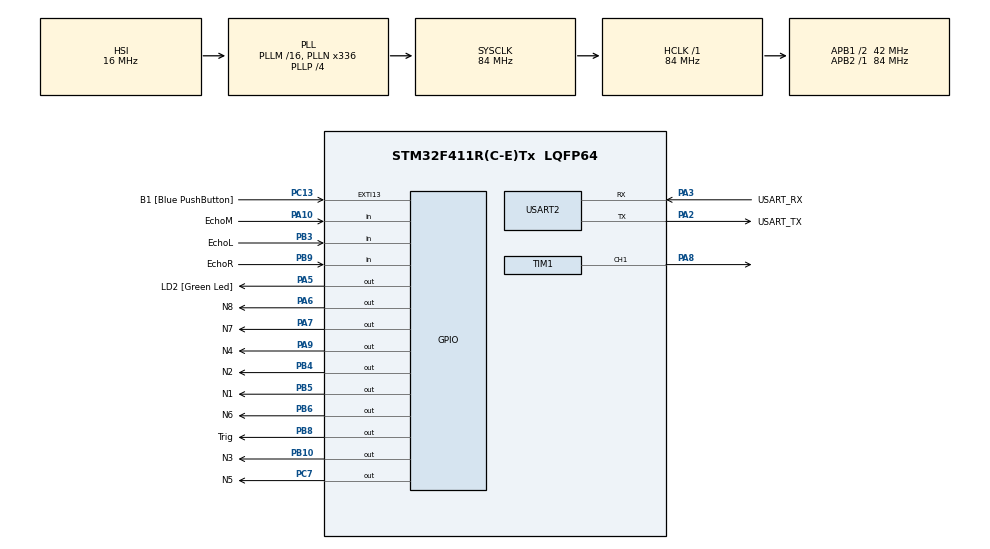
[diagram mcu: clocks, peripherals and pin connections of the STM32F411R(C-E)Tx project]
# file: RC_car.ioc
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Mcu.Family=STM32F4
Mcu.Name=STM32F411R(C-E)Tx
Mcu.Package=LQFP64
NVIC.EXTI15_10_IRQn=true\:0\:0\:false\:false\:true\:true\:true\:true
NVIC.PriorityGroup=NVIC_PRIORITYGROUP_0
PA10.GPIO_Label=EchoM
PA10.Signal=GPIO_Input
PA13.GPIO_Label=TMS
PA13.Mode=Serial_Wire
PA13.Signal=SYS_JTMS-SWDIO
PA14.GPIO_Label=TCK
PA14.Mode=Serial_Wire
PA14.Signal=SYS_JTCK-SWCLK
PA2.GPIO_Label=USART_TX
PA2.Mode=Asynchronous
PA2.Signal=USART2_TX
PA3.GPIO_Label=USART_RX
PA3.Mode=Asynchronous
PA3.Signal=USART2_RX
PA5.GPIO_Label=LD2 [Green Led]
PA5.Signal=GPIO_Output
PA6.GPIO_Label=N8
PA6.Signal=GPIO_Output
PA7.GPIO_Label=N7
PA7.Signal=GPIO_Output
PA8.Signal=S_TIM1_CH1
PA9.GPIO_Label=N4
PA9.Signal=GPIO_Output
PB10.GPIO_Label=N3
PB10.Signal=GPIO_Output
PB3.GPIO_Label=EchoL
PB3.Signal=GPIO_Input
PB4.GPIO_Label=N2
PB4.Signal=GPIO_Output
PB5.GPIO_Label=N1
PB5.Signal=GPIO_Output
PB6.GPIO_Label=N6
PB6.Signal=GPIO_Output
PB8.GPIO_Label=Trig
PB8.Signal=GPIO_Output
PB9.GPIO_Label=EchoR
PB9.Signal=GPIO_Input
PC13-ANTI_TAMP.GPIO_Label=B1 [Blue PushButton]
PC13-ANTI_TAMP.GPIO_ModeDefaultEXTI=GPIO_MODE_IT_FALLING
PC13-ANTI_TAMP.Signal=GPXTI13
PC14-OSC32_IN.Mode=LSE-External-Oscillator
PC14-OSC32_IN.Signal=RCC_OSC32_IN
PC15-OSC32_OUT.Mode=LSE-External-Oscillator
PC15-OSC32_OUT.Signal=RCC_OSC32_OUT
PC7.GPIO_Label=N5
PC7.Signal=GPIO_Output
PH0\ -\ OSC_IN.Mode=HSE-External-Clock-Source
PH0\ -\ OSC_IN.Signal=RCC_OSC_IN
PH1\ -\ OSC_OUT.Mode=HSE-External-Clock-Source
PH1\ -\ OSC_OUT.Signal=RCC_OSC_OUT
ProjectManager.HeapSize=0x200
ProjectManager.StackSize=0x400
ProjectManager.TargetToolchain=STM32CubeIDE
RCC.48MHZClocksFreq_Value=84000000
RCC.AHBFreq_Value=84000000
RCC.APB1CLKDivider=RCC_HCLK_DIV2
RCC.APB1Freq_Value=42000000
RCC.APB1TimFreq_Value=84000000
RCC.APB2Freq_Value=84000000
RCC.APB2TimFreq_Value=84000000
RCC.CortexFreq_Value=84000000
RCC.FLatency-AdvancedSettings=FLASH_LATENCY_2
RCC.HCLKFreq_Value=84000000
RCC.HSE_VALUE=8000000
RCC.HSI_VALUE=16000000
RCC.PLLN=336
RCC.PLLP=RCC_PLLP_DIV4
RCC.SYSCLKFreq_VALUE=84000000
RCC.SYSCLKSource=RCC_SYSCLKSOURCE_PLLCLK
RCC.VCOOutputFreq_Value=336000000
SH.S_TIM1_CH1.0=TIM1_CH1,PWM Generation1 CH1
TIM1.Channel-PWM\ Generation1\ CH1=TIM_CHANNEL_1
TIM1.Period=100-1
TIM1.Prescaler=840-1
TIM5.Prescaler=84-1
USART2.VirtualMode=VM_ASYNC
VP_TIM1_VS_ClockSourceINT.Mode=Internal
VP_TIM5_VS_ClockSourceINT.Mode=Internal
board=NUCLEO-F411RE

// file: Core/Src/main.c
/* USER CODE BEGIN Header */
/**
 ******************************************************************************
 * @file           : main.c
 * @brief          : Main program body
 ******************************************************************************
 * @attention
 *
 * Copyright (c) 2024 STMicroelectronics.
 * All rights reserved.
 *
 * This software is licensed under terms that can be found in the LICENSE file
 * in the root directory of this software component.
 * If no LICENSE file comes with this software, it is provided AS-IS.
 *
 ******************************************************************************
 */
/* USER CODE END Header */
#include "main.h"

/* USER CODE BEGIN Includes */
#include <stdio.h>
/* USER CODE END Includes */

TIM_HandleTypeDef htim1;
TIM_HandleTypeDef htim5;

UART_HandleTypeDef huart2;

void SystemClock_Config(void);
static void MX_GPIO_Init(void);
static void MX_USART2_UART_Init(void);
static void MX_TIM1_Init(void);
static void MX_TIM5_Init(void);

/* USER CODE BEGIN 0 */
int state = 0;
void HAL_GPIO_EXTI_Callback(uint16_t GPIO_Pin) {
	if (GPIO_Pin == B1_Pin) {
		if (state++ > 3)
			state = 0;
		Way();
	}

}
// ultra sonic================================================================
int t1 = 0, t2 = 0;
int ts = 0; //,t2=0;
double dist = 0.0;
void microDelay(int us) {
	/*
	 int t1 = htim5.Instance->CNT;
	 while(1)
	 {
	 int tmp_us = htim5.Instance->CNT - t1; // 경과?���?????????????????????
	 if(tmp_us > us) break;
	 }
	 */
	//while((htim5.Instance->CNT - t1) > us);
	htim5.Instance->CNT = 0;
	while (htim5.Instance->CNT < us)
		;
}
void Trigger() {
	//TriggerSignal

	HAL_GPIO_WritePin(Trig_GPIO_Port, Trig_Pin, 1);
	microDelay(10);	  //HAL_Delay(0.01);X
	HAL_GPIO_WritePin(Trig_GPIO_Port, Trig_Pin, 0);
	microDelay(20);
}
double Distance(int pos) {
	Trigger();
	switch(pos)
	{
	case 0 :
		// Wait util Echo Rising Edge
			while (HAL_GPIO_ReadPin(EchoL_GPIO_Port, EchoL_Pin) != 1)
				;
			t1 = htim5.Instance->CNT;
			//int t1 = htim5.Instance->CNT;
			// Wait until Echo Falling_Edge
			while (HAL_GPIO_ReadPin(EchoL_GPIO_Port, EchoL_Pin) != 0)
				;
			t2 = htim5.Instance->CNT;
			//int t2 = htim5.Instance->CNT;

			break;

	case 1:
		// Wait util Echo Rising Edge
			while (HAL_GPIO_ReadPin(EchoM_GPIO_Port, EchoM_Pin) != 1)
				;
			t1 = htim5.Instance->CNT;
			//int t1 = htim5.Instance->CNT;
			// Wait until Echo Falling_Edge
			while (HAL_GPIO_ReadPin(EchoM_GPIO_Port, EchoM_Pin) != 0)
				;
			t2 = htim5.Instance->CNT;
			//int t2 = htim5.Instance->CNT;
			break;
	case 2:
		// Wait util Echo Rising Edge
			while (HAL_GPIO_ReadPin(EchoR_GPIO_Port, EchoR_Pin) != 1)
				;
			t1 = htim5.Instance->CNT;
			//int t1 = htim5.Instance->CNT;
			// Wait until Echo Falling_Edge
			while (HAL_GPIO_ReadPin(EchoR_GPIO_Port, EchoR_Pin) != 0)
				;
			t2 = htim5.Instance->CNT;
			//int t2 = htim5.Instance->CNT;
		break;
	}

	double dist = (t2 - t1) * 0.000170; // meter
	//dist *= 100;

	//microDelay(100000);

	return dist;
}

void Way(void){
	switch (state) //N1 = 1, N2 = 0 forward
			{
			case 0:
				HAL_GPIO_WritePin(N1_GPIO_Port, N1_Pin, 1);
				HAL_GPIO_WritePin(N2_GPIO_Port, N2_Pin, 1);
				HAL_GPIO_WritePin(N3_GPIO_Port, N3_Pin, 1);
				HAL_GPIO_WritePin(N4_GPIO_Port, N4_Pin, 1);
				HAL_GPIO_WritePin(N5_GPIO_Port, N5_Pin, 1);
				HAL_GPIO_WritePin(N6_GPIO_Port, N6_Pin, 1);
				HAL_GPIO_WritePin(N7_GPIO_Port, N7_Pin, 1);
				HAL_GPIO_WritePin(N8_GPIO_Port, N8_Pin, 1);
				printf("0\r\n");
				break;
			case 1:
				HAL_GPIO_WritePin(N1_GPIO_Port, N1_Pin, 1);
				HAL_GPIO_WritePin(N2_GPIO_Port, N2_Pin, 0);
				HAL_GPIO_WritePin(N3_GPIO_Port, N3_Pin, 1);
				HAL_GPIO_WritePin(N4_GPIO_Port, N4_Pin, 0);
				HAL_GPIO_WritePin(N5_GPIO_Port, N5_Pin, 1);
				HAL_GPIO_WritePin(N6_GPIO_Port, N6_Pin, 0);
				HAL_GPIO_WritePin(N7_GPIO_Port, N7_Pin, 1);
				HAL_GPIO_WritePin(N8_GPIO_Port, N8_Pin, 0);
				printf("1\r\n");
				break;
			case 2:
				HAL_GPIO_WritePin(N1_GPIO_Port, N1_Pin, 0);
				HAL_GPIO_WritePin(N2_GPIO_Port, N2_Pin, 1);
				HAL_GPIO_WritePin(N3_GPIO_Port, N3_Pin, 0);
				HAL_GPIO_WritePin(N4_GPIO_Port, N4_Pin, 1);
				HAL_GPIO_WritePin(N5_GPIO_Port, N5_Pin, 0);
				HAL_GPIO_WritePin(N6_GPIO_Port, N6_Pin, 1);
				HAL_GPIO_WritePin(N7_GPIO_Port, N7_Pin, 0);
				HAL_GPIO_WritePin(N8_GPIO_Port, N8_Pin, 1);
				printf("2\r\n");
				break;
			case 3: //left
				HAL_GPIO_WritePin(N1_GPIO_Port, N1_Pin, 1);
				HAL_GPIO_WritePin(N2_GPIO_Port, N2_Pin, 0);
				HAL_GPIO_WritePin(N3_GPIO_Port, N3_Pin, 0);
				HAL_GPIO_WritePin(N4_GPIO_Port, N4_Pin, 1);
				HAL_GPIO_WritePin(N5_GPIO_Port, N5_Pin, 0);
				HAL_GPIO_WritePin(N6_GPIO_Port, N6_Pin, 1);
				HAL_GPIO_WritePin(N7_GPIO_Port, N7_Pin, 1);
				HAL_GPIO_WritePin(N8_GPIO_Port, N8_Pin, 0);
				printf("3\r\n");
				break;
			case 4: //right
				HAL_GPIO_WritePin(N1_GPIO_Port, N1_Pin, 0);
				HAL_GPIO_WritePin(N2_GPIO_Port, N2_Pin, 1);
				HAL_GPIO_WritePin(N3_GPIO_Port, N3_Pin, 1);
				HAL_GPIO_WritePin(N4_GPIO_Port, N4_Pin, 0);
				HAL_GPIO_WritePin(N5_GPIO_Port, N5_Pin, 1);
				HAL_GPIO_WritePin(N6_GPIO_Port, N6_Pin, 0);
				HAL_GPIO_WritePin(N7_GPIO_Port, N7_Pin, 0);
				HAL_GPIO_WritePin(N8_GPIO_Port, N8_Pin, 1);
				printf("4\r\n");
				break;
			}
}
/* USER CODE END 0 */

int main(void) {

	/* MCU Configuration--------------------------------------------------------*/

	/* Reset of all peripherals, Initializes the Flash interface and the Systick. */
	HAL_Init();

	/* Configure the system clock */
	SystemClock_Config();

	/* Initialize all configured peripherals */
	MX_GPIO_Init();
	MX_USART2_UART_Init();
	MX_TIM1_Init();
	MX_TIM5_Init();
	/* USER CODE BEGIN 2 */
	ProgramStart("DC_PWM");
	HAL_TIM_Base_Start(&htim5);
	HAL_TIM_PWM_Start(&htim1, TIM_CHANNEL_1);
	HAL_TIM_PWM_Start(&htim1, TIM_CHANNEL_3);
	htim1.Instance->CCR1 = 80;
	htim1.Instance->CCR3 = 80;
	/* USER CODE END 2 */

	/* Infinite loop */
	while (1) {

		/* USER CODE BEGIN 3 */
		//printf("%d\r\n", htim1.Instance->CCR1);

		double d = Distance(0) * 100;
		printf("\033[?25l");  //cursor off
		printf("\033[5;10H\033#3DistanceL : %.2f cm    ", d);
		printf("\033[6;10H\033#4DistanceL : %.2f cm    \033[9;10H\n", d);
		HAL_Delay(10);
		d = Distance(1) * 100;
		printf("\033[?25l");  //cursor off
		printf("\033[10;10H\033#3DistanceM : %.2f cm    ", d);
		printf("\033[11;10H\033#4DistanceM : %.2f cm    \033[9;10H\n", d);
		HAL_Delay(10);
		d = Distance(2) * 100;
		printf("\033[?25l");  //cursor off
		printf("\033[15;10H\033#3DistanceR : %.2f cm    ", d);
		printf("\033[16;10H\033#4DistanceR : %.2f cm    \033[9;10H\n", d);
		HAL_Delay(10);
		/*
		 if(htim1.Instance->CCR1>100)
		 {
		 htim1.Instance->CCR1 = 0;
		 htim1.Instance->CCR3 = 0;
		 }
		 htim1.Instance->CCR1++;
		 htim1.Instance->CCR3++;
		 */
		/*
		 //for (int i = 70; i < 100; i++)
		 {
		 //htim1.Instance -> CCR1 = i;
		 //htim1.Instance -> CCR3 = i;
		 //printf("%d\r\n" ,i);
		 HAL_GPIO_WritePin(N1_GPIO_Port, N1_Pin,1);
		 HAL_GPIO_WritePin(N3_GPIO_Port, N3_Pin,0);
		 HAL_GPIO_WritePin(N4_GPIO_Port, N4_Pin,1);
		 HAL_Delay(1000); //500ms
		 /*HAL_GPIO_WritePin(N3_GPIO_Port, N3_Pin,1);
		 HAL_GPIO_WritePin(N4_GPIO_Port, N4_Pin,0);
		 HAL_Delay(1000); //500ms
		 }*/
	}
	/* USER CODE END 3 */
}

void SystemClock_Config(void) {
	RCC_OscInitTypeDef RCC_OscInitStruct = { 0 };
	RCC_ClkInitTypeDef RCC_ClkInitStruct = { 0 };

	/** Configure the main internal regulator output voltage
	 */
	__HAL_RCC_PWR_CLK_ENABLE();
	__HAL_PWR_VOLTAGESCALING_CONFIG(PWR_REGULATOR_VOLTAGE_SCALE1);

	/** Initializes the RCC Oscillators according to the specified parameters
	 * in the RCC_OscInitTypeDef structure.
	 */
	RCC_OscInitStruct.OscillatorType = RCC_OSCILLATORTYPE_HSI;
	RCC_OscInitStruct.HSIState = RCC_HSI_ON;
	RCC_OscInitStruct.HSICalibrationValue = RCC_HSICALIBRATION_DEFAULT;
	RCC_OscInitStruct.PLL.PLLState = RCC_PLL_ON;
	RCC_OscInitStruct.PLL.PLLSource = RCC_PLLSOURCE_HSI;
	RCC_OscInitStruct.PLL.PLLM = 16;
	RCC_OscInitStruct.PLL.PLLN = 336;
	RCC_OscInitStruct.PLL.PLLP = RCC_PLLP_DIV4;
	RCC_OscInitStruct.PLL.PLLQ = 4;
	if (HAL_RCC_OscConfig(&RCC_OscInitStruct) != HAL_OK) {
		Error_Handler();
	}

	/** Initializes the CPU, AHB and APB buses clocks
	 */
	RCC_ClkInitStruct.ClockType = RCC_CLOCKTYPE_HCLK | RCC_CLOCKTYPE_SYSCLK
			| RCC_CLOCKTYPE_PCLK1 | RCC_CLOCKTYPE_PCLK2;
	RCC_ClkInitStruct.SYSCLKSource = RCC_SYSCLKSOURCE_PLLCLK;
	RCC_ClkInitStruct.AHBCLKDivider = RCC_SYSCLK_DIV1;
	RCC_ClkInitStruct.APB1CLKDivider = RCC_HCLK_DIV2;
	RCC_ClkInitStruct.APB2CLKDivider = RCC_HCLK_DIV1;

	if (HAL_RCC_ClockConfig(&RCC_ClkInitStruct, FLASH_LATENCY_2) != HAL_OK) {
		Error_Handler();
	}
}

static void MX_TIM1_Init(void) {

	TIM_ClockConfigTypeDef sClockSourceConfig = { 0 };
	TIM_MasterConfigTypeDef sMasterConfig = { 0 };
	TIM_OC_InitTypeDef sConfigOC = { 0 };
	TIM_BreakDeadTimeConfigTypeDef sBreakDeadTimeConfig = { 0 };

	htim1.Instance = TIM1;
	htim1.Init.Prescaler = 840 - 1;
	htim1.Init.CounterMode = TIM_COUNTERMODE_UP;
	htim1.Init.Period = 100 - 1;
	htim1.Init.ClockDivision = TIM_CLOCKDIVISION_DIV1;
	htim1.Init.RepetitionCounter = 0;
	htim1.Init.AutoReloadPreload = TIM_AUTORELOAD_PRELOAD_DISABLE;
	if (HAL_TIM_Base_Init(&htim1) != HAL_OK) {
		Error_Handler();
	}
	sClockSourceConfig.ClockSource = TIM_CLOCKSOURCE_INTERNAL;
	if (HAL_TIM_ConfigClockSource(&htim1, &sClockSourceConfig) != HAL_OK) {
		Error_Handler();
	}
	if (HAL_TIM_PWM_Init(&htim1) != HAL_OK) {
		Error_Handler();
	}
	sMasterConfig.MasterOutputTrigger = TIM_TRGO_RESET;
	sMasterConfig.MasterSlaveMode = TIM_MASTERSLAVEMODE_DISABLE;
	if (HAL_TIMEx_MasterConfigSynchronization(&htim1, &sMasterConfig)
			!= HAL_OK) {
		Error_Handler();
	}
	sConfigOC.OCMode = TIM_OCMODE_PWM1;
	sConfigOC.Pulse = 0;
	sConfigOC.OCPolarity = TIM_OCPOLARITY_HIGH;
	sConfigOC.OCNPolarity = TIM_OCNPOLARITY_HIGH;
	sConfigOC.OCFastMode = TIM_OCFAST_DISABLE;
	sConfigOC.OCIdleState = TIM_OCIDLESTATE_RESET;
	sConfigOC.OCNIdleState = TIM_OCNIDLESTATE_RESET;
	if (HAL_TIM_PWM_ConfigChannel(&htim1, &sConfigOC, TIM_CHANNEL_1)
			!= HAL_OK) {
		Error_Handler();
	}
	sBreakDeadTimeConfig.OffStateRunMode = TIM_OSSR_DISABLE;
	sBreakDeadTimeConfig.OffStateIDLEMode = TIM_OSSI_DISABLE;
	sBreakDeadTimeConfig.LockLevel = TIM_LOCKLEVEL_OFF;
	sBreakDeadTimeConfig.DeadTime = 0;
	sBreakDeadTimeConfig.BreakState = TIM_BREAK_DISABLE;
	sBreakDeadTimeConfig.BreakPolarity = TIM_BREAKPOLARITY_HIGH;
	sBreakDeadTimeConfig.AutomaticOutput = TIM_AUTOMATICOUTPUT_DISABLE;
	if (HAL_TIMEx_ConfigBreakDeadTime(&htim1, &sBreakDeadTimeConfig)
			!= HAL_OK) {
		Error_Handler();
	}
	HAL_TIM_MspPostInit(&htim1);

}

static void MX_TIM5_Init(void) {

	TIM_ClockConfigTypeDef sClockSourceConfig = { 0 };
	TIM_MasterConfigTypeDef sMasterConfig = { 0 };

	htim5.Instance = TIM5;
	htim5.Init.Prescaler = 84 - 1;
	htim5.Init.CounterMode = TIM_COUNTERMODE_UP;
	htim5.Init.Period = 4294967295;
	htim5.Init.ClockDivision = TIM_CLOCKDIVISION_DIV1;
	htim5.Init.AutoReloadPreload = TIM_AUTORELOAD_PRELOAD_DISABLE;
	if (HAL_TIM_Base_Init(&htim5) != HAL_OK) {
		Error_Handler();
	}
	sClockSourceConfig.ClockSource = TIM_CLOCKSOURCE_INTERNAL;
	if (HAL_TIM_ConfigClockSource(&htim5, &sClockSourceConfig) != HAL_OK) {
		Error_Handler();
	}
	sMasterConfig.MasterOutputTrigger = TIM_TRGO_RESET;
	sMasterConfig.MasterSlaveMode = TIM_MASTERSLAVEMODE_DISABLE;
	if (HAL_TIMEx_MasterConfigSynchronization(&htim5, &sMasterConfig)
			!= HAL_OK) {
		Error_Handler();
	}

}

static void MX_USART2_UART_Init(void) {

	huart2.Instance = USART2;
	huart2.Init.BaudRate = 115200;
	huart2.Init.WordLength = UART_WORDLENGTH_8B;
	huart2.Init.StopBits = UART_STOPBITS_1;
	huart2.Init.Parity = UART_PARITY_NONE;
	huart2.Init.Mode = UART_MODE_TX_RX;
	huart2.Init.HwFlowCtl = UART_HWCONTROL_NONE;
	huart2.Init.OverSampling = UART_OVERSAMPLING_16;
	if (HAL_UART_Init(&huart2) != HAL_OK) {
		Error_Handler();
	}

}

static void MX_GPIO_Init(void) {
	GPIO_InitTypeDef GPIO_InitStruct = { 0 };

	/* GPIO Ports Clock Enable */
	__HAL_RCC_GPIOC_CLK_ENABLE();
	__HAL_RCC_GPIOH_CLK_ENABLE();
	__HAL_RCC_GPIOA_CLK_ENABLE();
	__HAL_RCC_GPIOB_CLK_ENABLE();

	/*Configure GPIO pin Output Level */
	HAL_GPIO_WritePin(GPIOA, LD2_Pin | N8_Pin | N7_Pin | N4_Pin,
			GPIO_PIN_RESET);

	/*Configure GPIO pin Output Level */
	HAL_GPIO_WritePin(GPIOB, N3_Pin | N2_Pin | N1_Pin | N6_Pin | Trig_Pin,
			GPIO_PIN_RESET);

	/*Configure GPIO pin Output Level */
	HAL_GPIO_WritePin(N5_GPIO_Port, N5_Pin, GPIO_PIN_RESET);

	/*Configure GPIO pin : B1_Pin */
	GPIO_InitStruct.Pin = B1_Pin;
	GPIO_InitStruct.Mode = GPIO_MODE_IT_FALLING;
	GPIO_InitStruct.Pull = GPIO_NOPULL;
	HAL_GPIO_Init(B1_GPIO_Port, &GPIO_InitStruct);

	/*Configure GPIO pins : LD2_Pin N8_Pin N7_Pin N4_Pin */
	GPIO_InitStruct.Pin = LD2_Pin | N8_Pin | N7_Pin | N4_Pin;
	GPIO_InitStruct.Mode = GPIO_MODE_OUTPUT_PP;
	GPIO_InitStruct.Pull = GPIO_NOPULL;
	GPIO_InitStruct.Speed = GPIO_SPEED_FREQ_LOW;
	HAL_GPIO_Init(GPIOA, &GPIO_InitStruct);

	/*Configure GPIO pins : N3_Pin N2_Pin N1_Pin N6_Pin
	 Trig_Pin */
	GPIO_InitStruct.Pin = N3_Pin | N2_Pin | N1_Pin | N6_Pin | Trig_Pin;
	GPIO_InitStruct.Mode = GPIO_MODE_OUTPUT_PP;
	GPIO_InitStruct.Pull = GPIO_NOPULL;
	GPIO_InitStruct.Speed = GPIO_SPEED_FREQ_LOW;
	HAL_GPIO_Init(GPIOB, &GPIO_InitStruct);

	/*Configure GPIO pin : N5_Pin */
	GPIO_InitStruct.Pin = N5_Pin;
	GPIO_InitStruct.Mode = GPIO_MODE_OUTPUT_PP;
	GPIO_InitStruct.Pull = GPIO_NOPULL;
	GPIO_InitStruct.Speed = GPIO_SPEED_FREQ_LOW;
	HAL_GPIO_Init(N5_GPIO_Port, &GPIO_InitStruct);

	/*Configure GPIO pin : EchoM_Pin */
	GPIO_InitStruct.Pin = EchoM_Pin;
	GPIO_InitStruct.Mode = GPIO_MODE_INPUT;
	GPIO_InitStruct.Pull = GPIO_NOPULL;
	HAL_GPIO_Init(EchoM_GPIO_Port, &GPIO_InitStruct);

	/*Configure GPIO pins : EchoL_Pin EchoR_Pin */
	GPIO_InitStruct.Pin = EchoL_Pin | EchoR_Pin;
	GPIO_InitStruct.Mode = GPIO_MODE_INPUT;
	GPIO_InitStruct.Pull = GPIO_NOPULL;
	HAL_GPIO_Init(GPIOB, &GPIO_InitStruct);

	/* EXTI interrupt init*/
	HAL_NVIC_SetPriority(EXTI15_10_IRQn, 0, 0);
	HAL_NVIC_EnableIRQ(EXTI15_10_IRQn);

}

void Error_Handler(void) {
	__disable_irq();
	while (1) {
	}
}
